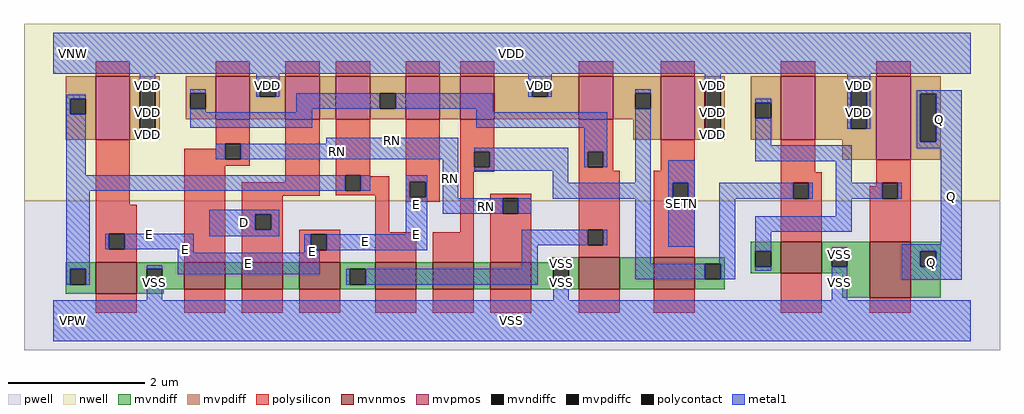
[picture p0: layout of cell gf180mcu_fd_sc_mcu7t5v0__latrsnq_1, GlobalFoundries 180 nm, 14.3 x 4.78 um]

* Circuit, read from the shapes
.subckt gf180mcu_fd_sc_mcu7t5v0__latrsnq_1 D E RN SETN Q VDD VNW VPW VSS
XM1 VSS E n1 VPW nfet_06v0 w=0.465u l=0.6u
XM2 n2 RN VSS VPW nfet_06v0 w=0.395u l=0.6u
XM3 n3 D n2 VPW nfet_06v0 w=0.395u l=0.6u
XM4 n4 E n3 VPW nfet_06v0 w=0.395u l=0.6u
XM5 n5 n1 n4 VPW nfet_06v0 w=0.395u l=0.6u
XM6 n6 n7 n5 VPW nfet_06v0 w=0.395u l=0.6u
XM7 VSS RN n6 VPW nfet_06v0 w=0.395u l=0.6u
XM8 n8 n4 VSS VPW nfet_06v0 w=0.465u l=0.6u
XM9 n7 SETN n8 VPW nfet_06v0 w=0.465u l=0.6u
XM10 VSS n7 n9 VPW nfet_06v0 w=0.465u l=0.6u
XM11 Q n9 VSS VPW nfet_06v0 w=0.82u l=0.6u
XM12 VDD E n1 VNW pfet_06v0 w=0.925u l=0.5u
XM13 VDD RN n4 VNW pfet_06v0 w=0.63u l=0.5u
XM14 n10 D VDD VNW pfet_06v0 w=0.63u l=0.5u
XM15 n4 n1 n10 VNW pfet_06v0 w=0.63u l=0.5u
XM16 n11 E n4 VNW pfet_06v0 w=0.63u l=0.5u
XM17 VDD n7 n11 VNW pfet_06v0 w=0.63u l=0.5u
XM18 n7 n4 VDD VNW pfet_06v0 w=0.63u l=0.5u
XM19 VDD SETN n7 VNW pfet_06v0 w=0.925u l=0.5u
XM20 VDD n7 n9 VNW pfet_06v0 w=0.925u l=0.5u
XM21 Q n9 VDD VNW pfet_06v0 w=1.22u l=0.5u
.ends

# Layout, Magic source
magic
tech gf180mcuD
magscale 1 10
<< nwell >>
rect -86 352 2774 870
<< pwell >>
rect -86 -86 2774 352
<< mvnmos >>
rect 124 79 244 172
rect 384 93 504 172
rect 552 93 672 172
rect 720 93 840 172
rect 944 93 1064 172
rect 1112 93 1232 172
rect 1280 93 1400 172
rect 1540 93 1660 186
rect 1760 93 1880 186
rect 2132 139 2252 232
rect 2392 68 2512 232
<< mvpmos >>
rect 124 531 224 716
rect 476 590 576 716
rect 680 590 780 716
rect 828 590 928 716
rect 1032 590 1132 716
rect 1192 590 1292 716
rect 1540 590 1640 716
rect 1780 531 1880 716
rect 2132 531 2232 716
rect 2412 472 2512 716
<< mvndiff >>
rect 2044 204 2132 232
rect 1460 172 1540 186
rect 36 152 124 172
rect 36 106 49 152
rect 95 106 124 152
rect 36 79 124 106
rect 244 152 384 172
rect 244 106 273 152
rect 319 106 384 152
rect 244 93 384 106
rect 504 93 552 172
rect 672 93 720 172
rect 840 152 944 172
rect 840 106 869 152
rect 915 106 944 152
rect 840 93 944 106
rect 1064 93 1112 172
rect 1232 93 1280 172
rect 1400 158 1540 172
rect 1400 112 1465 158
rect 1511 112 1540 158
rect 1400 93 1540 112
rect 1660 93 1760 186
rect 1880 167 1968 186
rect 1880 121 1909 167
rect 1955 121 1968 167
rect 2044 158 2057 204
rect 2103 158 2132 204
rect 2044 139 2132 158
rect 2252 204 2392 232
rect 2252 158 2281 204
rect 2327 158 2392 204
rect 2252 139 2392 158
rect 1880 93 1968 121
rect 244 79 324 93
rect 2312 68 2392 139
rect 2512 204 2600 232
rect 2512 158 2541 204
rect 2587 158 2600 204
rect 2512 68 2600 158
<< mvpdiff >>
rect 36 651 124 716
rect 36 605 49 651
rect 95 605 124 651
rect 36 531 124 605
rect 224 703 312 716
rect 224 563 253 703
rect 299 563 312 703
rect 388 667 476 716
rect 388 621 401 667
rect 447 621 476 667
rect 388 590 476 621
rect 576 703 680 716
rect 576 657 605 703
rect 651 657 680 703
rect 576 590 680 657
rect 780 590 828 716
rect 928 667 1032 716
rect 928 621 957 667
rect 1003 621 1032 667
rect 928 590 1032 621
rect 1132 590 1192 716
rect 1292 703 1540 716
rect 1292 657 1403 703
rect 1449 657 1540 703
rect 1292 590 1540 657
rect 1640 667 1780 716
rect 1640 621 1705 667
rect 1751 621 1780 667
rect 1640 590 1780 621
rect 224 531 312 563
rect 1700 531 1780 590
rect 1880 703 1968 716
rect 1880 563 1909 703
rect 1955 563 1968 703
rect 1880 531 1968 563
rect 2044 639 2132 716
rect 2044 593 2057 639
rect 2103 593 2132 639
rect 2044 531 2132 593
rect 2232 703 2412 716
rect 2232 563 2337 703
rect 2383 563 2412 703
rect 2232 531 2412 563
rect 2312 472 2412 531
rect 2512 665 2600 716
rect 2512 525 2541 665
rect 2587 525 2600 665
rect 2512 472 2600 525
<< mvndiffc >>
rect 49 106 95 152
rect 273 106 319 152
rect 869 106 915 152
rect 1465 112 1511 158
rect 1909 121 1955 167
rect 2057 158 2103 204
rect 2281 158 2327 204
rect 2541 158 2587 204
<< mvpdiffc >>
rect 49 605 95 651
rect 253 563 299 703
rect 401 621 447 667
rect 605 657 651 703
rect 957 621 1003 667
rect 1403 657 1449 703
rect 1705 621 1751 667
rect 1909 563 1955 703
rect 2057 593 2103 639
rect 2337 563 2383 703
rect 2541 525 2587 665
<< polysilicon >>
rect 124 716 224 760
rect 476 716 576 760
rect 680 716 780 760
rect 828 716 928 760
rect 1032 716 1132 760
rect 1192 716 1292 760
rect 1540 716 1640 760
rect 1780 716 1880 760
rect 2132 716 2232 760
rect 2412 716 2512 760
rect 124 340 224 531
rect 476 519 576 590
rect 476 504 503 519
rect 384 473 503 504
rect 549 473 576 519
rect 384 454 576 473
rect 124 255 244 340
rect 124 209 163 255
rect 209 209 244 255
rect 124 172 244 209
rect 384 172 504 454
rect 680 406 780 590
rect 552 366 780 406
rect 828 427 928 590
rect 828 381 855 427
rect 901 423 928 427
rect 901 381 984 423
rect 828 368 984 381
rect 552 312 672 366
rect 552 266 592 312
rect 638 266 672 312
rect 552 172 672 266
rect 720 253 840 266
rect 720 207 755 253
rect 801 207 840 253
rect 720 172 840 207
rect 944 260 984 368
rect 1032 408 1132 590
rect 1032 362 1045 408
rect 1091 362 1132 408
rect 1032 349 1132 362
rect 1192 496 1292 590
rect 1192 450 1233 496
rect 1279 450 1292 496
rect 1192 437 1292 450
rect 1540 496 1640 590
rect 1540 450 1566 496
rect 1612 450 1640 496
rect 1540 440 1640 450
rect 1780 440 1880 531
rect 1192 260 1232 437
rect 944 172 1064 260
rect 1112 172 1232 260
rect 1280 359 1400 372
rect 1280 313 1317 359
rect 1363 313 1400 359
rect 1280 172 1400 313
rect 1540 267 1660 440
rect 1540 221 1566 267
rect 1612 221 1660 267
rect 1540 186 1660 221
rect 1760 404 1880 440
rect 1760 358 1815 404
rect 1861 358 1880 404
rect 1760 186 1880 358
rect 2132 435 2232 531
rect 2132 404 2252 435
rect 2132 358 2168 404
rect 2214 358 2252 404
rect 2412 404 2512 472
rect 2412 394 2429 404
rect 2132 232 2252 358
rect 2392 358 2429 394
rect 2475 358 2512 404
rect 2392 232 2512 358
rect 124 24 244 79
rect 384 24 504 93
rect 552 24 672 93
rect 720 24 840 93
rect 944 24 1064 93
rect 1112 24 1232 93
rect 1280 24 1400 93
rect 1540 24 1660 93
rect 1760 24 1880 93
rect 2132 24 2252 139
rect 2392 24 2512 68
<< polycontact >>
rect 503 473 549 519
rect 163 209 209 255
rect 855 381 901 427
rect 592 266 638 312
rect 755 207 801 253
rect 1045 362 1091 408
rect 1233 450 1279 496
rect 1566 450 1612 496
rect 1317 313 1363 359
rect 1566 221 1612 267
rect 1815 358 1861 404
rect 2168 358 2214 404
rect 2429 358 2475 404
<< metal1 >>
rect 0 724 2688 844
rect 253 703 299 724
rect 38 651 95 662
rect 38 605 49 651
rect 38 427 95 605
rect 594 703 662 724
rect 401 667 447 678
rect 594 657 605 703
rect 651 657 662 703
rect 1392 703 1460 724
rect 401 611 447 621
rect 712 621 957 667
rect 1003 621 1289 667
rect 1392 657 1403 703
rect 1449 657 1460 703
rect 1909 703 1955 724
rect 1705 667 1751 678
rect 712 611 758 621
rect 401 565 758 611
rect 1239 611 1289 621
rect 1239 565 1623 611
rect 253 531 299 563
rect 800 519 1187 536
rect 476 473 503 519
rect 549 473 1187 519
rect 38 381 855 427
rect 901 381 928 427
rect 1032 408 1095 427
rect 38 152 106 381
rect 1032 362 1045 408
rect 1091 362 1095 408
rect 457 312 662 326
rect 457 266 592 312
rect 638 266 662 312
rect 152 209 163 255
rect 209 209 411 255
rect 457 248 662 266
rect 1032 253 1095 362
rect 1141 359 1187 473
rect 1233 496 1509 507
rect 1279 450 1509 496
rect 1555 496 1623 565
rect 1555 450 1566 496
rect 1612 450 1623 496
rect 1233 439 1509 450
rect 1463 404 1509 439
rect 1705 404 1751 621
rect 2326 703 2394 724
rect 1909 531 1955 563
rect 2057 639 2103 650
rect 2057 514 2103 593
rect 2326 563 2337 703
rect 2383 563 2394 703
rect 2530 665 2662 676
rect 2530 525 2541 665
rect 2587 525 2662 665
rect 1141 313 1317 359
rect 1363 313 1400 359
rect 1463 358 1751 404
rect 365 200 411 209
rect 735 207 755 253
rect 801 207 1095 253
rect 1373 221 1566 267
rect 1612 221 1623 267
rect 735 200 781 207
rect 38 106 49 152
rect 95 106 106 152
rect 273 152 319 163
rect 365 136 781 200
rect 1373 152 1419 221
rect 858 106 869 152
rect 915 106 1419 152
rect 1465 158 1511 175
rect 1705 167 1751 358
rect 1802 404 1880 471
rect 2057 468 2339 514
rect 2530 506 2662 525
rect 2293 404 2339 468
rect 1802 358 1815 404
rect 1861 358 1880 404
rect 1802 217 1880 358
rect 1952 358 2168 404
rect 2214 358 2225 404
rect 2293 358 2429 404
rect 2475 358 2486 404
rect 1952 167 1998 358
rect 2293 307 2339 358
rect 1705 121 1909 167
rect 1955 121 1998 167
rect 2057 261 2339 307
rect 2057 204 2103 261
rect 2600 224 2662 506
rect 2057 147 2103 158
rect 2281 204 2327 215
rect 273 60 319 106
rect 1465 60 1511 112
rect 2281 60 2327 158
rect 2486 204 2662 224
rect 2486 158 2541 204
rect 2587 158 2662 204
rect 2486 120 2662 158
rect 0 -60 2688 60
<< labels >>
flabel metal1 s 1802 217 1880 471 0 FreeSans 400 0 0 0 SETN
port 4 nsew default input
flabel metal1 s 2530 506 2662 676 0 FreeSans 400 0 0 0 Q
port 5 nsew default output
flabel metal1 s 800 519 1187 536 0 FreeSans 400 0 0 0 RN
port 3 nsew default input
flabel metal1 s 2281 175 2327 215 0 FreeSans 400 0 0 0 VSS
port 9 nsew ground bidirectional abutment
flabel metal1 s 1032 255 1095 427 0 FreeSans 400 0 0 0 E
port 2 nsew clock input
flabel metal1 s 0 724 2688 844 0 FreeSans 400 0 0 0 VDD
port 6 nsew power bidirectional abutment
flabel metal1 s 457 248 662 326 0 FreeSans 400 0 0 0 D
port 1 nsew default input
flabel nwell s 10 734 110 834 0 FreeSans 400 0 0 0 VNW
port 7 nsew power bidirectional
flabel pwell s 10 -50 110 50 0 FreeSans 400 0 0 0 VPW
port 8 nsew ground bidirectional
rlabel metal1 s 1032 253 1095 255 1 E
port 2 nsew clock input
rlabel metal1 s 152 253 411 255 1 E
port 2 nsew clock input
rlabel metal1 s 735 209 1095 253 1 E
port 2 nsew clock input
rlabel metal1 s 152 209 411 253 1 E
port 2 nsew clock input
rlabel metal1 s 735 207 1095 209 1 E
port 2 nsew clock input
rlabel metal1 s 365 207 411 209 1 E
port 2 nsew clock input
rlabel metal1 s 735 200 781 207 1 E
port 2 nsew clock input
rlabel metal1 s 365 200 411 207 1 E
port 2 nsew clock input
rlabel metal1 s 365 136 781 200 1 E
port 2 nsew clock input
rlabel metal1 s 476 473 1187 519 1 RN
port 3 nsew default input
rlabel metal1 s 1141 359 1187 473 1 RN
port 3 nsew default input
rlabel metal1 s 1141 313 1400 359 1 RN
port 3 nsew default input
rlabel metal1 s 2600 224 2662 506 1 Q
port 5 nsew default output
rlabel metal1 s 2486 120 2662 224 1 Q
port 5 nsew default output
rlabel metal1 s 2326 657 2394 724 1 VDD
port 6 nsew power bidirectional abutment
rlabel metal1 s 1909 657 1955 724 1 VDD
port 6 nsew power bidirectional abutment
rlabel metal1 s 1392 657 1460 724 1 VDD
port 6 nsew power bidirectional abutment
rlabel metal1 s 594 657 662 724 1 VDD
port 6 nsew power bidirectional abutment
rlabel metal1 s 253 657 299 724 1 VDD
port 6 nsew power bidirectional abutment
rlabel metal1 s 2326 563 2394 657 1 VDD
port 6 nsew power bidirectional abutment
rlabel metal1 s 1909 563 1955 657 1 VDD
port 6 nsew power bidirectional abutment
rlabel metal1 s 253 563 299 657 1 VDD
port 6 nsew power bidirectional abutment
rlabel metal1 s 1909 531 1955 563 1 VDD
port 6 nsew power bidirectional abutment
rlabel metal1 s 253 531 299 563 1 VDD
port 6 nsew power bidirectional abutment
rlabel metal1 s 2281 163 2327 175 1 VSS
port 9 nsew ground bidirectional abutment
rlabel metal1 s 1465 163 1511 175 1 VSS
port 9 nsew ground bidirectional abutment
rlabel metal1 s 2281 60 2327 163 1 VSS
port 9 nsew ground bidirectional abutment
rlabel metal1 s 1465 60 1511 163 1 VSS
port 9 nsew ground bidirectional abutment
rlabel metal1 s 273 60 319 163 1 VSS
port 9 nsew ground bidirectional abutment
rlabel metal1 s 0 -60 2688 60 1 VSS
port 9 nsew ground bidirectional abutment
<< properties >>
string FIXED_BBOX 0 0 2688 784
string GDS_END 625276
string GDS_FILE $PDKPATH/libs.ref/gf180mcu_fd_sc_mcu7t5v0/gds/gf180mcu_fd_sc_mcu7t5v0.gds
string GDS_START 618684
string LEFclass core
string LEFsite GF018hv5v_mcu_sc7
string LEFsymmetry X Y
<< end >>
